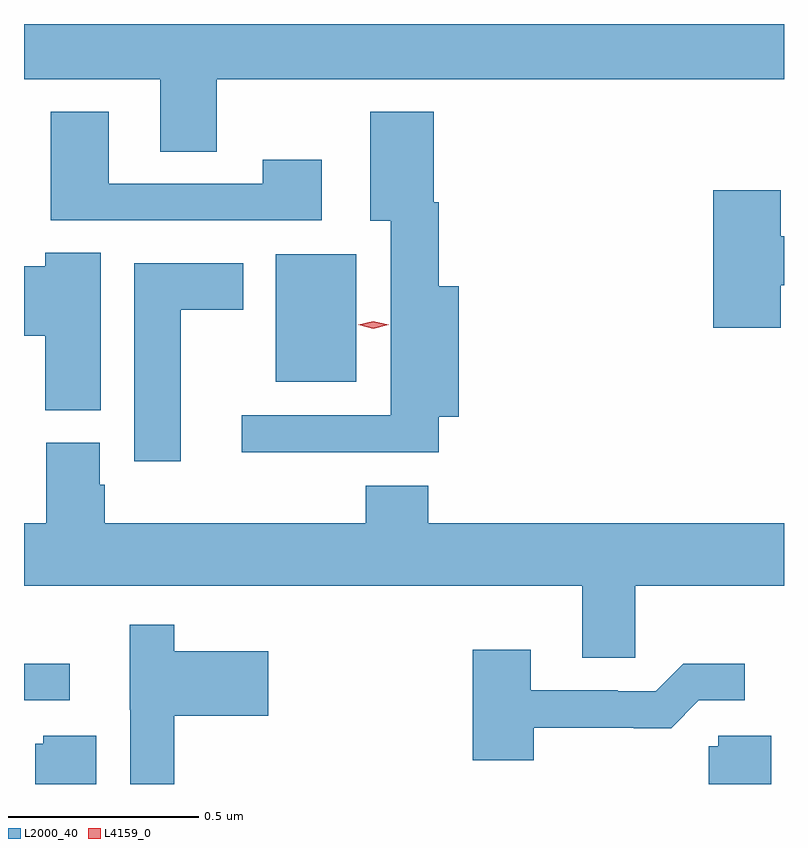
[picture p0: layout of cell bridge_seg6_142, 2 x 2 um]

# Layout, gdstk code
import gdstk
lib = gdstk.Library(unit=1e-6, precision=1e-09)
def R(c, l, rs):  # rectangles x0, y0, x1, y1
    for r in rs: c.add(gdstk.rectangle(r[:2], r[2:], *l))
def P(c, l, *ps):  # polygons
    for p in ps: c.add(gdstk.Polygon(p, *l))
L2000_40 = (2000, 40)
L4159_0 = (4159, 0)

bridge_seg6_142 = lib.new_cell('bridge_seg6_142')
R(bridge_seg6_142, L2000_40, [(412.824,967.014,412.945,967.111), (413.486,967.853,413.698,968.188)])
P(bridge_seg6_142, L2000_40, [(413.331,968.648),(414.824,968.648),(414.824,968.794),(412.824,968.794),(412.824,968.648),(413.183,968.648),(413.183,968.458),(413.331,968.458)],
  [(413.915,967.76),(413.968,967.76),(413.968,968.104),(413.915,968.104),(413.915,968.325),(413.902,968.325),(413.902,968.563),(413.735,968.563),(413.735,968.276),(413.789,968.276),(413.789,967.764),(413.397,967.764),(413.397,967.667),(413.915,967.667)],
  [(413.608,968.437),(413.452,968.437),(413.452,968.373),(413.047,968.373),(413.047,968.563),(412.895,968.563),(412.895,968.277),(413.608,968.277)],
  [(414.816,968.107),(414.824,968.107),(414.824,968.236),(414.816,968.236),(414.816,968.356),(414.638,968.356),(414.638,967.995),(414.816,967.995)],
  [(413.026,968.192),(412.88,968.192),(412.88,968.156),(412.824,968.156),(412.824,967.973),(412.88,967.973),(412.88,967.777),(413.026,967.777)],
  [(413.236,968.042),(413.401,968.042),(413.401,968.164),(413.114,968.164),(413.114,967.644),(413.236,967.644)],
  [(413.888,967.579),(413.723,967.579),(413.723,967.48),(413.036,967.48),(413.036,967.581),(413.023,967.581),(413.023,967.692),(412.883,967.692),(412.883,967.48),(412.824,967.48),(412.824,967.316),(414.293,967.316),(414.293,967.126),(414.432,967.126),(414.432,967.316),(414.824,967.316),(414.824,967.48),(413.888,967.48)],
  [(413.219,966.974),(413.467,966.974),(413.467,967.144),(413.219,967.144),(413.219,967.213),(413.102,967.213),(413.102,966.99),(413.103,966.99),(413.103,966.794),(413.219,966.794)],
  [(414.165,966.942),(414.428,966.942),(414.428,966.941),(414.527,966.941),(414.6,967.014),(414.721,967.014),(414.721,967.111),(414.559,967.111),(414.486,967.038),(414.386,967.038),(414.386,967.041),(414.157,967.041),(414.157,967.147),(414.005,967.147),(414.005,966.857),(414.165,966.857)],
  [(414.79,966.921),(414.651,966.921),(414.651,966.894),(414.626,966.894),(414.626,966.794),(414.79,966.794)],
  [(413.014,966.921),(412.875,966.921),(412.875,966.9),(412.853,966.9),(412.853,966.794),(413.014,966.794)])
P(bridge_seg6_142, L4159_0, [(413.743,967.992),(413.703,968.002),(413.703,968.002),(413.703,968.003),(413.743,968.012),(413.784,968.003),(413.784,968.002),(413.784,968.002)])

lib.write_gds('bridge_seg6_142.gds')
